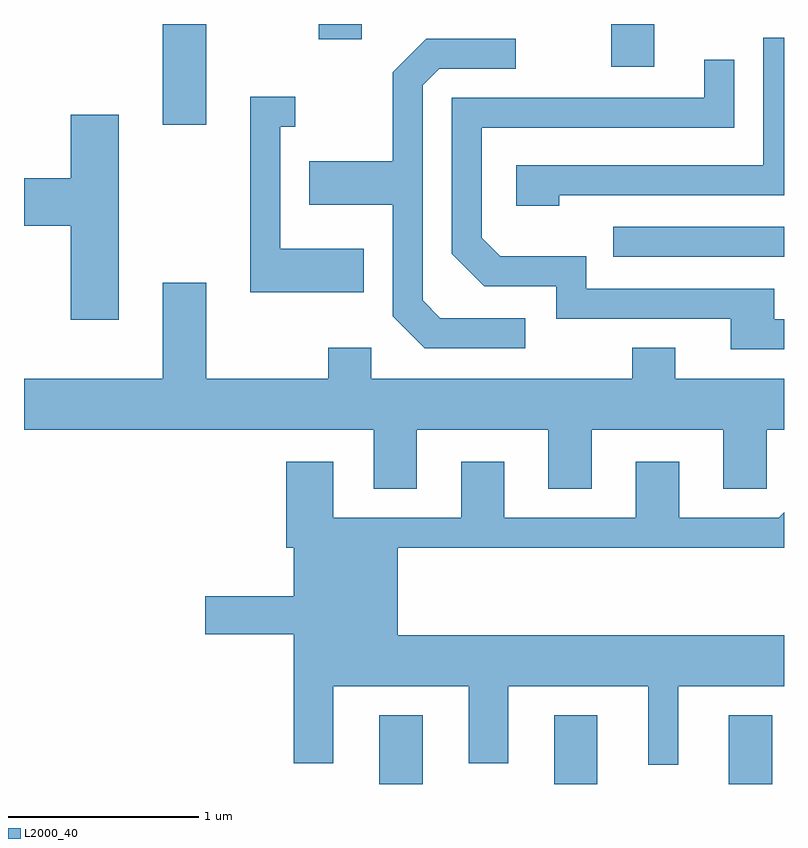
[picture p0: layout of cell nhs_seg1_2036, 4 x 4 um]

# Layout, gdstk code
import gdstk
lib = gdstk.Library(unit=1e-6, precision=1e-09)
def R(c, l, rs):  # rectangles x0, y0, x1, y1
    for r in rs: c.add(gdstk.rectangle(r[:2], r[2:], *l))
def A(c, l, x, y, w, h, nx, ny, dx, dy):  # array of equal rectangles
    R(c, l, [(x+i*dx, y+j*dy, x+i*dx+w, y+j*dy+h) for i in range(nx) for j in range(ny)])
def P(c, l, *ps):  # polygons
    for p in ps: c.add(gdstk.Polygon(p, *l))
L2000_40 = (2000, 40)

nhs_seg1_2036 = lib.new_cell('nhs_seg1_2036')
A(nhs_seg1_2036, L2000_40, 249.481, 897.712, 0.228, 0.362, 3, 1, 0.92, 0)
R(nhs_seg1_2036, L2000_40, [(250.713,900.486,251.611,900.644), (248.341,901.181,248.569,901.712), (250.701,901.486,250.929,901.712), (249.161,901.631,249.389,901.712)])
P(nhs_seg1_2036, L2000_40, [(250.429,900.811),(251.611,900.811),(251.611,901.639),(251.501,901.639),(251.501,900.969),(250.201,900.969),(250.201,900.756),(250.429,900.756)],
  [(250.248,900.164),(249.802,900.164),(249.709,900.257),(249.709,901.389),(249.797,901.476),(250.198,901.476),(250.198,901.634),(249.729,901.634),(249.551,901.457),(249.551,900.989),(249.111,900.989),(249.111,900.761),(249.551,900.761),(249.551,900.174),(249.719,900.006),(250.248,900.006)],
  [(251.611,900.159),(251.559,900.159),(251.559,900.319),(250.569,900.319),(250.569,900.489),(250.117,900.489),(250.019,900.587),(250.019,901.166),(251.349,901.166),(251.349,901.523),(251.191,901.523),(251.191,901.324),(249.861,901.324),(249.861,900.504),(250.034,900.331),(250.411,900.331),(250.411,900.161),(251.331,900.161),(251.331,900.001),(251.611,900.001)],
  [(249.399,900.529),(248.959,900.529),(248.959,901.171),(249.038,901.171),(249.038,901.329),(248.801,901.329),(248.801,900.301),(249.399,900.301)],
  [(248.109,901.234),(247.856,901.234),(247.856,900.899),(247.611,900.899),(247.611,900.651),(247.856,900.651),(247.856,900.156),(248.109,900.156)],
  [(249.679,899.576),(250.371,899.576),(250.371,899.266),(250.599,899.266),(250.599,899.576),(251.291,899.576),(251.291,899.266),(251.519,899.266),(251.519,899.576),(251.611,899.576),(251.611,899.844),(251.039,899.844),(251.039,900.009),(250.811,900.009),(250.811,899.844),(249.439,899.844),(249.439,900.009),(249.211,900.009),(249.211,899.844),(248.569,899.844),(248.569,900.349),(248.341,900.349),(248.341,899.844),(247.611,899.844),(247.611,899.576),(249.451,899.576),(249.451,899.266),(249.679,899.266)],
  [(251.054,898.226),(251.611,898.226),(251.611,898.494),(249.579,898.494),(249.579,898.956),(251.611,898.956),(251.611,899.141),(251.584,899.114),(251.059,899.114),(251.059,899.409),(250.831,899.409),(250.831,899.114),(250.139,899.114),(250.139,899.409),(249.911,899.409),(249.911,899.114),(249.239,899.114),(249.239,899.409),(248.991,899.409),(248.991,898.956),(249.031,898.956),(249.031,898.699),(248.566,898.699),(248.566,898.501),(249.031,898.501),(249.031,897.821),(249.239,897.821),(249.239,898.226),(249.951,898.226),(249.951,897.821),(250.159,897.821),(250.159,898.226),(250.896,898.226),(250.896,897.813),(251.054,897.813)])

lib.write_gds('nhs_seg1_2036.gds')
